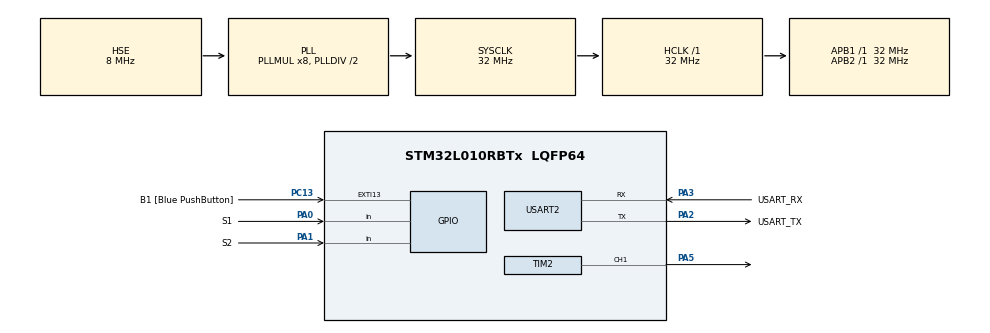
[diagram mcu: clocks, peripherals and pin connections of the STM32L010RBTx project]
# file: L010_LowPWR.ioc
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Mcu.Family=STM32L0
Mcu.Name=STM32L010RBTx
Mcu.Package=LQFP64
PA0.GPIO_Label=S1
PA0.Signal=GPIO_Input
PA1.GPIO_Label=S2
PA1.Signal=GPIO_Input
PA13.GPIO_Label=TMS
PA13.Mode=Serial_Wire
PA13.Signal=SYS_SWDIO
PA14.GPIO_Label=TCK
PA14.Mode=Serial_Wire
PA14.Signal=SYS_SWCLK
PA2.GPIO_Label=USART_TX
PA2.Mode=Asynchronous
PA2.Signal=USART2_TX
PA3.GPIO_Label=USART_RX
PA3.Mode=Asynchronous
PA3.Signal=USART2_RX
PA5.Signal=S_TIM2_CH1
PC13.GPIO_Label=B1 [Blue PushButton]
PC13.GPIO_ModeDefaultEXTI=GPIO_MODE_EVT_RISING
PC13.Signal=GPXTI13
PC14-OSC32_IN.Mode=LSE-External-Oscillator
PC14-OSC32_IN.Signal=RCC_OSC32_IN
PC15-OSC32_OUT.Mode=LSE-External-Oscillator
PC15-OSC32_OUT.Signal=RCC_OSC32_OUT
PH0-OSC_IN.GPIO_Label=MCO
PH0-OSC_IN.Mode=HSE-External-Clock-Source
PH0-OSC_IN.Signal=RCC_OSC_IN
ProjectManager.HeapSize=0x200
ProjectManager.StackSize=0x400
ProjectManager.TargetToolchain=STM32CubeIDE
RCC.AHBFreq_Value=32000000
RCC.APB1Freq_Value=32000000
RCC.APB1TimFreq_Value=32000000
RCC.APB2Freq_Value=32000000
RCC.APB2TimFreq_Value=32000000
RCC.HCLKFreq_Value=32000000
RCC.HSE_VALUE=8000000
RCC.HSI16_VALUE=16000000
RCC.HSI48_VALUE=48000000
RCC.HSI_VALUE=16000000
RCC.MSI_VALUE=2097000
RCC.PLLMUL=RCC_PLLMUL_8
RCC.PLLSourceVirtual=RCC_PLLSOURCE_HSE
RCC.SYSCLKFreq_VALUE=32000000
RCC.SYSCLKSource=RCC_SYSCLKSOURCE_PLLCLK
RCC.VCOOutputFreq_Value=64000000
RTC.Alarm-Alarm\ A=RTC_ALARM_A
SH.S_TIM2_CH1.0=TIM2_CH1,PWM Generation1 CH1
TIM2.Channel-PWM\ Generation1\ CH1=TIM_CHANNEL_1
TIM2.Period=3200
TIM2.Prescaler=10000
TIM2.Pulse-PWM\ Generation1\ CH1=1600
USART2.VirtualMode-Asynchronous=VM_ASYNC
VP_RTC_VS_RTC_Activate.Mode=RTC_Enabled
VP_RTC_VS_RTC_Alarm_A_Intern.Mode=Alarm A
VP_RTC_VS_RTC_Calendar.Mode=RTC_Calendar
VP_TIM2_VS_ClockSourceINT.Mode=Internal
board=NUCLEO-L010RB

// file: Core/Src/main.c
/* USER CODE BEGIN Header */
/**
  ******************************************************************************
  * @file           : main.c
  * @brief          : Main program body
  ******************************************************************************
  * @attention
  *
  * Copyright (c) 2022 STMicroelectronics.
  * All rights reserved.
  *
  * This software is licensed under terms that can be found in the LICENSE file
  * in the root directory of this software component.
  * If no LICENSE file comes with this software, it is provided AS-IS.
  *
  ******************************************************************************
  */
/* USER CODE END Header */
#include "main.h"

RTC_HandleTypeDef hrtc;

TIM_HandleTypeDef htim2;

UART_HandleTypeDef huart2;

/* USER CODE BEGIN PV */

struct
{
	int sleep;
	int stop;
	int standby;
	}LowPWRModetest = {0};

//// RTC
RTC_TimeTypeDef NowTime;
RTC_DateTypeDef NowDate;
/* USER CODE END PV */

void SystemClock_Config(void);
static void MX_GPIO_Init(void);
static void MX_USART2_UART_Init(void);
static void MX_TIM2_Init(void);
static void MX_RTC_Init(void);

int main(void)
{

  /* MCU Configuration--------------------------------------------------------*/

  /* Reset of all peripherals, Initializes the Flash interface and the Systick. */
  HAL_Init();

  /* Configure the system clock */
  SystemClock_Config();

  /* Initialize all configured peripherals */
  MX_GPIO_Init();
  MX_USART2_UART_Init();
  MX_TIM2_Init();
  MX_RTC_Init();
  /* USER CODE BEGIN 2 */

  HAL_TIM_Base_Start(&htim2);
  HAL_TIM_PWM_Start(&htim2, TIM_CHANNEL_1);
  HAL_Delay(5000);
  /* USER CODE END 2 */

  /* Infinite loop */
  /* USER CODE BEGIN WHILE */
  while (1)
  {
#ifdef Low_PWR
	  //// Simulate taskkk
	  __HAL_TIM_SET_COMPARE(&htim2,TIM_CHANNEL_1, 300);
	  HAL_Delay(3000);
	  __HAL_TIM_SET_COMPARE(&htim2,TIM_CHANNEL_1, 2500);
	  HAL_Delay(3000);

	  //// trig mode in live espression
	  if(LowPWRModetest.sleep){
		  HAL_SuspendTick(); // stop HAL_GetTick();  which has IT
		  //// clear interrupt flag, prevent some flag trig CPU wake
		  //// or if IT flag rised-> cpu can't wake
		  HAL_NVIC_ClearPendingIRQ(EXTI4_15_IRQn);
		  __HAL_GPIO_EXTI_CLEAR_IT(GPIO_PIN_13);
		  //// sleep CPU here/ WFE = wait for event
		  HAL_PWR_EnterSLEEPMode(PWR_MAINREGULATOR_ON, PWR_SLEEPENTRY_WFE);
		  /*
		   * CPU clock only sleeping here (other peripheral still work)
		   * => blink with last frequency set for timer
		   * => 4.x mA
		   *
		   * until "Any" event (button, timer event trigger) happen
		   *  => CPU 'll wake
		   * */
		  //// Continue
		  HAL_ResumeTick();
		  LowPWRModetest.sleep = 0;
	  }

	  if(LowPWRModetest.stop){
	  		  HAL_SuspendTick(); // stop HAL_GetTick(); which has IT
	  		  //// clear interrupt flag, prevent some flag trig CPU wake
	  		  //// or if IT flag rised-> cpu can't wake
	  		  HAL_NVIC_ClearPendingIRQ(EXTI4_15_IRQn);
	  		  __HAL_GPIO_EXTI_CLEAR_IT(GPIO_PIN_13);
	  		  //// sleep CPU here/ WFE = wait for event
	  		  HAL_PWR_EnterSTOPMode(PWR_MAINREGULATOR_ON, PWR_STOPENTRY_WFE);
	  		  /*
	  		   * CPU , PLL peripheral clock sleeping here
	  		   * => no blink
	  		   * => 0.0x mA
	  		   *
	  		   * until "Any" event (button, timer event trigger) happen
	  		   *  => CPU 'll wake
	  		   * */
	  		  //// Continue
	  		/* Configure the system clock like in Line 89*/
	  		  SystemClock_Config();
	  		  HAL_ResumeTick();
	  		  LowPWRModetest.stop = 0;
	  	  }

	  if(LowPWRModetest.standby){
	  	  		  //// prepare for wakeup pin
		  	  	  HAL_PWR_EnableWakeUpPin(PWR_WAKEUP_PIN2);
		  	  	  __HAL_PWR_CLEAR_FLAG(PWR_FLAG_WU);
	  	  		  //// sleep CPU here
		  	  	  HAL_PWR_EnterSTANDBYMode();
	  	  		  /*
	  	  		   * Vcore(power source) sleeping here
	  	  		   * => no blink (Really dead)
	  	  		   * => 0.0x mA
	  	  		   *
	  	  		   * wake by RST pin only (reset)
	  	  		   * */
	  	  		  //LowPWRModetest.standby = 0;
	  	  	  }
	  	  	  __HAL_RCC_GET_FLAG(RCC_FLAG_PINRST);
#endif
    /* USER CODE END WHILE */

    /* USER CODE BEGIN 3 */

	  //// RTC wake up
		  //setting Time by pressing S1
		  if(HAL_GPIO_ReadPin(S1_GPIO_Port, S1_Pin)==GPIO_PIN_RESET)
		  {
			  RTC_TimeTypeDef sTime={0};
			  sTime.Hours =0x12;
			  sTime.Minutes =0x20;
			  sTime.Seconds =0;

			  HAL_RTC_SetTime(&hrtc, &sTime, RTC_FORMAT_BCD);

			  RTC_DateTypeDef sDate ={0};
			  sDate.Date = 0x20;
			  sDate.Month = 0x10;
			  sDate.WeekDay = RTC_WEEKDAY_WEDNESDAY;
			  sDate.Year = 0x21;

			  HAL_RTC_SetDate(&hrtc, &sDate, RTC_FORMAT_BCD);
		  }
		  //set alarm at next 10s , and Sleep CPU
		  if(HAL_GPIO_ReadPin(S2_GPIO_Port, S2_Pin)==GPIO_PIN_RESET)
		  {

				RTC_AlarmTypeDef sAlarm = { 0 };
				RTC_TimeTypeDef sTime = NowTime;

				//sett alarm at now + 10 s
				sTime.Seconds += 0x10;
				//corrected over time

				if (sTime.Seconds >= 0x60) {
					sTime.Seconds -= 0x60;
					sTime.Minutes++;
					if (sTime.Minutes >= 0x60) {
						sTime.Minutes -= 0x60;
						sTime.Hours++;
						if (sTime.Hours >= 0x24) {
							sTime.Hours -= 0x24;
						}
					}
				}
				//setting alarm mask
				sAlarm.AlarmTime = sTime;
				sAlarm.Alarm = RTC_ALARM_A;
				sAlarm.AlarmMask = RTC_ALARMMASK_DATEWEEKDAY;
				sAlarm.AlarmSubSecondMask = RTC_ALARMSUBSECONDMASK_NONE;
				sAlarm.AlarmDateWeekDaySel = RTC_ALARMDATEWEEKDAYSEL_DATE;
				sAlarm.AlarmDateWeekDay = 0x1;
				//stop LED (For save energy)
				HAL_GPIO_WritePin(GPIOA, GPIO_PIN_5, GPIO_PIN_RESET);

				//set alarm
				HAL_RTC_SetAlarm_IT(&hrtc, &sAlarm, RTC_FORMAT_BCD);

				//put cpu to stop mode
				HAL_SuspendTick();
				HAL_PWR_EnterSLEEPMode( PWR_MAINREGULATOR_ON,PWR_STOPENTRY_WFE);

				//code stop / resume here

				HAL_ResumeTick();
		}
  //simulate task
	  HAL_Delay(100);
	  HAL_GPIO_TogglePin(GPIOA, GPIO_PIN_5);

	  //read RTC NEED TO READ BOTH IN OTHER
	  HAL_RTC_GetTime(&hrtc, &NowTime, RTC_FORMAT_BCD);
	  HAL_RTC_GetDate(&hrtc, &NowDate, RTC_FORMAT_BCD);

  }
  /* USER CODE END 3 */
}

void SystemClock_Config(void)
{
  RCC_OscInitTypeDef RCC_OscInitStruct = {0};
  RCC_ClkInitTypeDef RCC_ClkInitStruct = {0};
  RCC_PeriphCLKInitTypeDef PeriphClkInit = {0};

  /** Configure the main internal regulator output voltage
  */
  __HAL_PWR_VOLTAGESCALING_CONFIG(PWR_REGULATOR_VOLTAGE_SCALE1);

  /** Initializes the RCC Oscillators according to the specified parameters
  * in the RCC_OscInitTypeDef structure.
  */
  RCC_OscInitStruct.OscillatorType = RCC_OSCILLATORTYPE_LSI|RCC_OSCILLATORTYPE_HSE;
  RCC_OscInitStruct.HSEState = RCC_HSE_BYPASS;
  RCC_OscInitStruct.LSIState = RCC_LSI_ON;
  RCC_OscInitStruct.PLL.PLLState = RCC_PLL_ON;
  RCC_OscInitStruct.PLL.PLLSource = RCC_PLLSOURCE_HSE;
  RCC_OscInitStruct.PLL.PLLMUL = RCC_PLLMUL_8;
  RCC_OscInitStruct.PLL.PLLDIV = RCC_PLLDIV_2;
  if (HAL_RCC_OscConfig(&RCC_OscInitStruct) != HAL_OK)
  {
    Error_Handler();
  }

  /** Initializes the CPU, AHB and APB buses clocks
  */
  RCC_ClkInitStruct.ClockType = RCC_CLOCKTYPE_HCLK|RCC_CLOCKTYPE_SYSCLK
                              |RCC_CLOCKTYPE_PCLK1|RCC_CLOCKTYPE_PCLK2;
  RCC_ClkInitStruct.SYSCLKSource = RCC_SYSCLKSOURCE_PLLCLK;
  RCC_ClkInitStruct.AHBCLKDivider = RCC_SYSCLK_DIV1;
  RCC_ClkInitStruct.APB1CLKDivider = RCC_HCLK_DIV1;
  RCC_ClkInitStruct.APB2CLKDivider = RCC_HCLK_DIV1;

  if (HAL_RCC_ClockConfig(&RCC_ClkInitStruct, FLASH_LATENCY_1) != HAL_OK)
  {
    Error_Handler();
  }
  PeriphClkInit.PeriphClockSelection = RCC_PERIPHCLK_USART2|RCC_PERIPHCLK_RTC;
  PeriphClkInit.Usart2ClockSelection = RCC_USART2CLKSOURCE_PCLK1;
  PeriphClkInit.RTCClockSelection = RCC_RTCCLKSOURCE_LSI;
  if (HAL_RCCEx_PeriphCLKConfig(&PeriphClkInit) != HAL_OK)
  {
    Error_Handler();
  }
}

static void MX_RTC_Init(void)
{

  RTC_TimeTypeDef sTime = {0};
  RTC_DateTypeDef sDate = {0};
  RTC_AlarmTypeDef sAlarm = {0};

  /** Initialize RTC Only
  */
  hrtc.Instance = RTC;
  hrtc.Init.HourFormat = RTC_HOURFORMAT_24;
  hrtc.Init.AsynchPrediv = 127;
  hrtc.Init.SynchPrediv = 255;
  hrtc.Init.OutPut = RTC_OUTPUT_DISABLE;
  hrtc.Init.OutPutRemap = RTC_OUTPUT_REMAP_NONE;
  hrtc.Init.OutPutPolarity = RTC_OUTPUT_POLARITY_HIGH;
  hrtc.Init.OutPutType = RTC_OUTPUT_TYPE_OPENDRAIN;
  if (HAL_RTC_Init(&hrtc) != HAL_OK)
  {
    Error_Handler();
  }

  /* USER CODE BEGIN Check_RTC_BKUP */

  //// set init at => USER CODE BEGIN RTC_Init 2
  //// Checkif rtc backup register resetted and initialized
if(HAL_RTCEx_BKUPRead(&hrtc, 0)!= 0x5555)
{
  /* USER CODE END Check_RTC_BKUP */

  /** Initialize RTC and set the Time and Date
  */
  sTime.Hours = 0x0;
  sTime.Minutes = 0x0;
  sTime.Seconds = 0x0;
  sTime.DayLightSaving = RTC_DAYLIGHTSAVING_NONE;
  sTime.StoreOperation = RTC_STOREOPERATION_RESET;
  if (HAL_RTC_SetTime(&hrtc, &sTime, RTC_FORMAT_BCD) != HAL_OK)
  {
    Error_Handler();
  }
  sDate.WeekDay = RTC_WEEKDAY_MONDAY;
  sDate.Month = RTC_MONTH_JANUARY;
  sDate.Date = 0x1;
  sDate.Year = 0x0;

  if (HAL_RTC_SetDate(&hrtc, &sDate, RTC_FORMAT_BCD) != HAL_OK)
  {
    Error_Handler();
  }

  /** Enable the Alarm A
  */
  sAlarm.AlarmTime.Hours = 0x0;
  sAlarm.AlarmTime.Minutes = 0x0;
  sAlarm.AlarmTime.Seconds = 0x0;
  sAlarm.AlarmTime.SubSeconds = 0x0;
  sAlarm.AlarmTime.DayLightSaving = RTC_DAYLIGHTSAVING_NONE;
  sAlarm.AlarmTime.StoreOperation = RTC_STOREOPERATION_RESET;
  sAlarm.AlarmMask = RTC_ALARMMASK_NONE;
  sAlarm.AlarmSubSecondMask = RTC_ALARMSUBSECONDMASK_ALL;
  sAlarm.AlarmDateWeekDaySel = RTC_ALARMDATEWEEKDAYSEL_DATE;
  sAlarm.AlarmDateWeekDay = 0x1;
  sAlarm.Alarm = RTC_ALARM_A;
  if (HAL_RTC_SetAlarm(&hrtc, &sAlarm, RTC_FORMAT_BCD) != HAL_OK)
  {
    Error_Handler();
  }
  /* USER CODE BEGIN RTC_Init 2 */
  HAL_RTCEx_BKUPWrite(&hrtc, 0, 0x5555); //// RTC Set & initialized
}
  /* USER CODE END RTC_Init 2 */

}

static void MX_TIM2_Init(void)
{

  TIM_ClockConfigTypeDef sClockSourceConfig = {0};
  TIM_MasterConfigTypeDef sMasterConfig = {0};
  TIM_OC_InitTypeDef sConfigOC = {0};

  htim2.Instance = TIM2;
  htim2.Init.Prescaler = 10000;
  htim2.Init.CounterMode = TIM_COUNTERMODE_UP;
  htim2.Init.Period = 3200;
  htim2.Init.ClockDivision = TIM_CLOCKDIVISION_DIV1;
  htim2.Init.AutoReloadPreload = TIM_AUTORELOAD_PRELOAD_DISABLE;
  if (HAL_TIM_Base_Init(&htim2) != HAL_OK)
  {
    Error_Handler();
  }
  sClockSourceConfig.ClockSource = TIM_CLOCKSOURCE_INTERNAL;
  if (HAL_TIM_ConfigClockSource(&htim2, &sClockSourceConfig) != HAL_OK)
  {
    Error_Handler();
  }
  if (HAL_TIM_PWM_Init(&htim2) != HAL_OK)
  {
    Error_Handler();
  }
  sMasterConfig.MasterOutputTrigger = TIM_TRGO_RESET;
  sMasterConfig.MasterSlaveMode = TIM_MASTERSLAVEMODE_DISABLE;
  if (HAL_TIMEx_MasterConfigSynchronization(&htim2, &sMasterConfig) != HAL_OK)
  {
    Error_Handler();
  }
  sConfigOC.OCMode = TIM_OCMODE_PWM1;
  sConfigOC.Pulse = 1600;
  sConfigOC.OCPolarity = TIM_OCPOLARITY_HIGH;
  sConfigOC.OCFastMode = TIM_OCFAST_DISABLE;
  if (HAL_TIM_PWM_ConfigChannel(&htim2, &sConfigOC, TIM_CHANNEL_1) != HAL_OK)
  {
    Error_Handler();
  }
  HAL_TIM_MspPostInit(&htim2);

}

static void MX_USART2_UART_Init(void)
{

  huart2.Instance = USART2;
  huart2.Init.BaudRate = 115200;
  huart2.Init.WordLength = UART_WORDLENGTH_8B;
  huart2.Init.StopBits = UART_STOPBITS_1;
  huart2.Init.Parity = UART_PARITY_NONE;
  huart2.Init.Mode = UART_MODE_TX_RX;
  huart2.Init.HwFlowCtl = UART_HWCONTROL_NONE;
  huart2.Init.OverSampling = UART_OVERSAMPLING_16;
  huart2.Init.OneBitSampling = UART_ONE_BIT_SAMPLE_DISABLE;
  huart2.AdvancedInit.AdvFeatureInit = UART_ADVFEATURE_NO_INIT;
  if (HAL_UART_Init(&huart2) != HAL_OK)
  {
    Error_Handler();
  }

}

static void MX_GPIO_Init(void)
{
  GPIO_InitTypeDef GPIO_InitStruct = {0};

  /* GPIO Ports Clock Enable */
  __HAL_RCC_GPIOC_CLK_ENABLE();
  __HAL_RCC_GPIOH_CLK_ENABLE();
  __HAL_RCC_GPIOA_CLK_ENABLE();

  /*Configure GPIO pin : B1_Pin */
  GPIO_InitStruct.Pin = B1_Pin;
  GPIO_InitStruct.Mode = GPIO_MODE_EVT_RISING;
  GPIO_InitStruct.Pull = GPIO_NOPULL;
  HAL_GPIO_Init(B1_GPIO_Port, &GPIO_InitStruct);

  /*Configure GPIO pins : S1_Pin S2_Pin */
  GPIO_InitStruct.Pin = S1_Pin|S2_Pin;
  GPIO_InitStruct.Mode = GPIO_MODE_INPUT;
  GPIO_InitStruct.Pull = GPIO_NOPULL;
  HAL_GPIO_Init(GPIOA, &GPIO_InitStruct);

}

void Error_Handler(void)
{
  __disable_irq();
  while (1)
  {
  }
}
